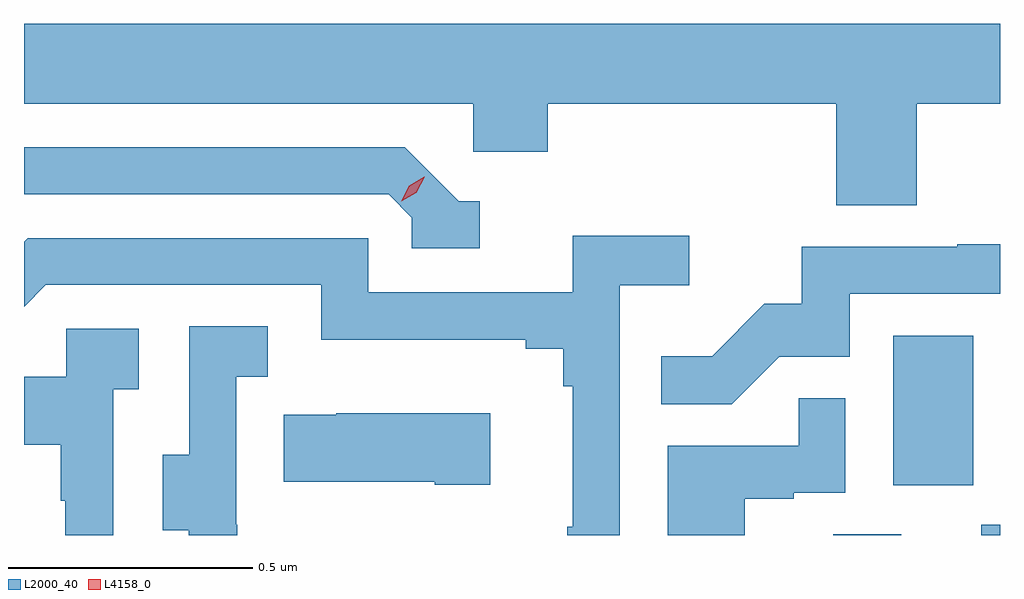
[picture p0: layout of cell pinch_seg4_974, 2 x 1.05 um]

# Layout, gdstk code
import gdstk
lib = gdstk.Library(unit=1e-6, precision=1e-09)
def R(c, l, rs):  # rectangles x0, y0, x1, y1
    for r in rs: c.add(gdstk.rectangle(r[:2], r[2:], *l))
def P(c, l, *ps):  # polygons
    for p in ps: c.add(gdstk.Polygon(p, *l))
L2000_40 = (2000, 40)
L4158_0 = (4158, 0)

pinch_seg4_974 = lib.new_cell('pinch_seg4_974')
R(pinch_seg4_974, L2000_40, [(887.849,769.296,887.989,769.298), (888.153,769.296,888.191,769.317), (887.972,769.398,888.136,769.705)])
P(pinch_seg4_974, L2000_40, [(888.02,770.18),(888.191,770.18),(888.191,770.344),(886.191,770.344),(886.191,770.18),(887.112,770.18),(887.112,770.082),(887.264,770.082),(887.264,770.18),(887.855,770.18),(887.855,769.972),(888.02,769.972)],
  [(887.125,769.98),(887.082,769.98),(886.971,770.091),(886.191,770.091),(886.191,769.995),(886.938,769.995),(886.986,769.947),(886.986,769.884),(887.125,769.884)],
  [(887.412,769.808),(887.554,769.808),(887.554,769.91),(887.315,769.91),(887.315,769.794),(886.896,769.794),(886.896,769.905),(886.199,769.905),(886.191,769.897),(886.191,769.764),(886.236,769.809),(886.8,769.809),(886.8,769.697),(887.219,769.697),(887.219,769.678),(887.296,769.678),(887.296,769.601),(887.315,769.601),(887.315,769.313),(887.304,769.313),(887.304,769.296),(887.412,769.296)],
  [(887.739,769.662),(887.883,769.662),(887.883,769.791),(888.191,769.791),(888.191,769.892),(888.103,769.892),(888.103,769.887),(887.785,769.887),(887.785,769.77),(887.708,769.77),(887.601,769.663),(887.497,769.663),(887.497,769.564),(887.641,769.564)],
  [(886.628,769.317),(886.626,769.317),(886.626,769.621),(886.69,769.621),(886.69,769.724),(886.53,769.724),(886.53,769.461),(886.475,769.461),(886.475,769.306),(886.529,769.306),(886.529,769.296),(886.628,769.296)],
  [(886.374,769.595),(886.426,769.595),(886.426,769.719),(886.278,769.719),(886.278,769.621),(886.191,769.621),(886.191,769.481),(886.266,769.481),(886.266,769.367),(886.276,769.367),(886.276,769.296),(886.374,769.296)],
  [(887.668,769.371),(887.768,769.371),(887.768,769.383),(887.874,769.383),(887.874,769.577),(887.779,769.577),(887.779,769.479),(887.51,769.479),(887.51,769.296),(887.668,769.296)],
  [(887.146,769.546),(886.831,769.546),(886.831,769.543),(886.723,769.543),(886.723,769.406),(887.033,769.406),(887.033,769.399),(887.146,769.399)])
P(pinch_seg4_974, L4158_0, [(886.964,769.98),(886.964,769.98),(886.98,770.012),(887.011,770.031),(887.012,770.031),(887.012,770.031),(886.995,769.998),(886.964,769.98)])

lib.write_gds('pinch_seg4_974.gds')
